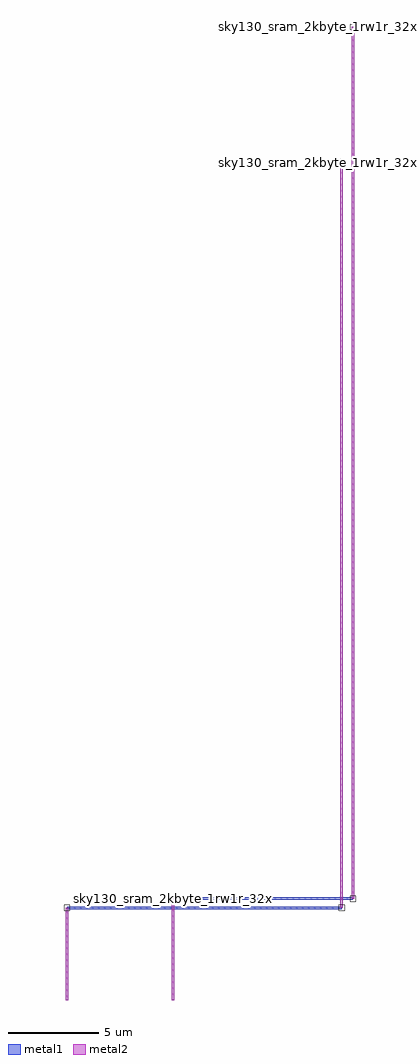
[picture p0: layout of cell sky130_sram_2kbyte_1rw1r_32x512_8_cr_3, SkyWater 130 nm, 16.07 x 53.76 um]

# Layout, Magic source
magic
tech sky130A
magscale 1 2
<< metal1 >>
rect 3283 -5276 5265 -5248
rect 2115 -5378 5141 -5350
<< metal2 >>
rect 2101 -6379 2129 -5364
rect 3269 -6379 3297 -5262
rect 5127 -5364 5155 2850
rect 5251 -5262 5279 4340
use sky130_sram_2kbyte_1rw1r_32x512_8_contact_19  sky130_sram_2kbyte_1rw1r_32x512_8_contact_19_0
transform 1 0 3251 0 1 -5294
box 0 0 64 64
use sky130_sram_2kbyte_1rw1r_32x512_8_contact_19  sky130_sram_2kbyte_1rw1r_32x512_8_contact_19_1
transform 1 0 5233 0 1 4308
box 0 0 64 64
use sky130_sram_2kbyte_1rw1r_32x512_8_contact_19  sky130_sram_2kbyte_1rw1r_32x512_8_contact_19_2
transform 1 0 5233 0 1 -5294
box 0 0 64 64
use sky130_sram_2kbyte_1rw1r_32x512_8_contact_19  sky130_sram_2kbyte_1rw1r_32x512_8_contact_19_3
transform 1 0 2083 0 1 -5396
box 0 0 64 64
use sky130_sram_2kbyte_1rw1r_32x512_8_contact_19  sky130_sram_2kbyte_1rw1r_32x512_8_contact_19_4
transform 1 0 5109 0 1 2818
box 0 0 64 64
use sky130_sram_2kbyte_1rw1r_32x512_8_contact_19  sky130_sram_2kbyte_1rw1r_32x512_8_contact_19_5
transform 1 0 5109 0 1 -5396
box 0 0 64 64
<< properties >>
string FIXED_BBOX 2083 -6379 5297 4372
<< end >>
